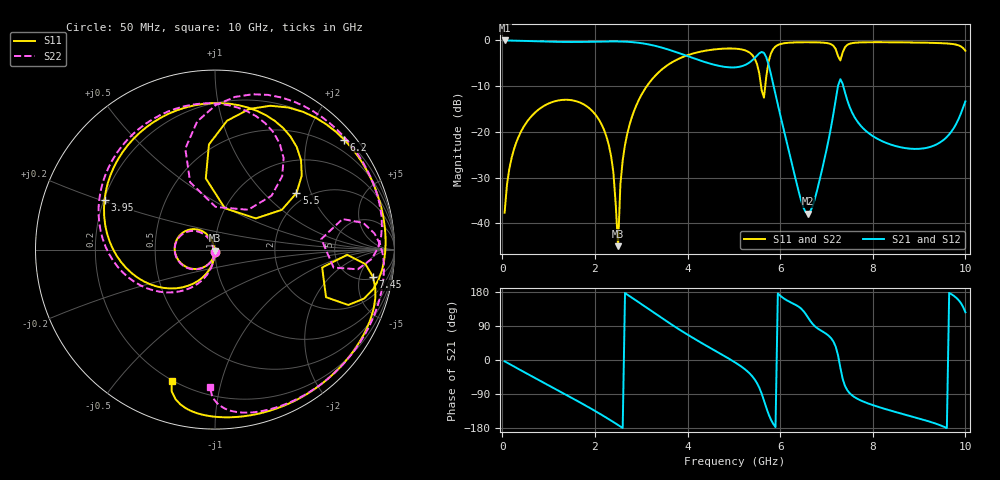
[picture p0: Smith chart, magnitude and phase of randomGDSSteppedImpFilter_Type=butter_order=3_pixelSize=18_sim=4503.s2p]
! freq	dB(S11)	phase(S11)	dB(S12)	phase(S12)
!  dB(S21)	phase(S21)	dB(S22)	phase(S22)
!S-par simulation data
#  GHz  S  DB  R 50
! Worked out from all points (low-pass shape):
!   200 points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, 50 MHz to 10 GHz, reference 50 ohm
!   highest |S21| = 0.00 dB at 50 MHz (marker M1); lowest = -37.9 dB at 6.6 GHz (marker M2)
!   |S21| within 3 dB of the highest: start of sweep to 3.882 GHz; 5.53 GHz to 5.665 GHz (135.2 MHz wide, 2.42 % of centre)
!   lowest |S11| = -45.0 dB at 2.5 GHz (marker M3), VSWR 1.01, Z = 49.8 - j0.513 ohm
!   |S11| at or under -10 dB: start of sweep to 3.121 GHz; 5.588 GHz to 5.678 GHz (89.48 MHz wide, 1.59 % of centre)
!   |S22| runs from -40.5 to -0.4 dB; largest |S21 - S12| = 0
!   S11 on the Smith chart (normalised r, x): 50 MHz: 1.00, -0.03; 3.95 GHz: 0.20, +0.21; 5.5 GHz: 1.75, +1.59; 6.2 GHz: 0.23, +2.69; 7.45 GHz: 5.30, -8.13; 10 GHz: 0.19, -0.71
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0.05  -37.64 -93.4  -0.00 -3.4  -0.00 -3.4  -37.63 -93.3
0.2  -25.72 -103.7  -0.03 -13.6  -0.03 -13.6  -25.72 -103.4
0.55  -17.55 -128.0  -0.13 -37.1  -0.13 -37.1  -17.55 -127.1
1.75  -13.93 151.2  -0.32 -116.8  -0.32 -116.8  -13.94 154.9
2.3  -22.85 112.8  -0.22 -156.2  -0.22 -156.2  -22.84 120.3
2.5  -44.96 -114.1  -0.22 -171.5  -0.22 -171.5  -40.51 -136.9
2.55  -31.48 -94.9  -0.23 -175.4  -0.23 -175.4  -31.06 -101.1
2.7  -20.33 -102.7  -0.29 172.6  -0.29 172.6  -20.27 -101.1
3.4  -6.75 -160.2  -1.44 114.3  -1.44 114.3  -6.74 -154.3
3.95  -3.41 155.8  -3.25 70.7  -3.25 70.7  -3.41 163.7
5.05  -1.81 76.9  -5.86 -8.2  -5.86 -8.2  -1.80 88.4
5.5  -5.15 34.7  -3.30 -61.0  -3.30 -61.0  -5.13 47.5
5.65  -12.51 76.5  -2.72 -106.6  -2.72 -106.6  -12.48 89.1
5.75  -4.63 93.3  -5.29 -142.9  -5.29 -142.9  -4.64 106.4
6.2  -0.49 40.5  -24.68 153.7  -24.68 153.7  -0.49 54.6
6.6  -0.39 15.7  -37.85 112.4  -37.85 112.4  -0.38 30.3
6.7  -0.40 10.2  -36.27 95.2  -36.27 95.2  -0.39 24.9
7.25  -3.44 -23.2  -9.88 12.3  -9.88 12.3  -3.50 -8.6
7.45  -0.97 -9.9  -13.09 -79.8  -13.09 -79.8  -0.98 5.8
8.35  -0.40 -51.1  -22.63 -132.3  -22.63 -132.3  -0.36 -35.4
9.4  -0.57 -85.9  -22.60 -169.6  -22.60 -169.6  -0.52 -69.9
10  -2.25 -108.2  -13.32 125.9  -13.32 125.9  -2.29 -92.1
